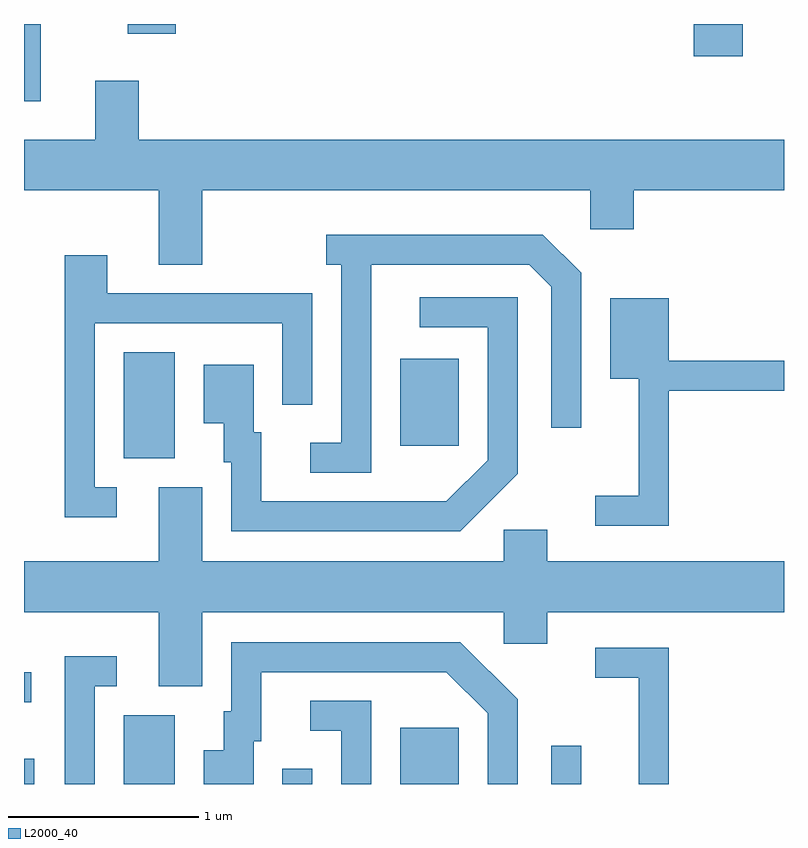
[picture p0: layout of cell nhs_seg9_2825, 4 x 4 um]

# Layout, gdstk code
import gdstk
lib = gdstk.Library(unit=1e-6, precision=1e-09)
def R(c, l, rs):  # rectangles x0, y0, x1, y1
    for r in rs: c.add(gdstk.rectangle(r[:2], r[2:], *l))
def P(c, l, *ps):  # polygons
    for p in ps: c.add(gdstk.Polygon(p, *l))
L2000_40 = (2000, 40)

nhs_seg9_2825 = lib.new_cell('nhs_seg9_2825')
R(nhs_seg9_2825, L2000_40, [(267.611,2026.432,267.664,2026.564), (268.136,2026.432,268.404,2026.794), (268.971,2026.432,269.129,2026.513), (269.591,2026.432,269.899,2026.729), (270.386,2026.432,270.544,2026.633), (267.611,2026.861,267.648,2027.019), (268.136,2028.146,268.404,2028.704), (269.591,2028.211,269.899,2028.669), (267.611,2030.026,267.699,2030.432), (271.136,2030.261,271.394,2030.432), (268.156,2030.381,268.409,2030.432)])
P(nhs_seg9_2825, L2000_40, [(268.549,2029.556),(270.591,2029.556),(270.591,2029.351),(270.819,2029.351),(270.819,2029.556),(271.611,2029.556),(271.611,2029.824),(268.214,2029.824),(268.214,2030.134),(267.986,2030.134),(267.986,2029.824),(267.611,2029.824),(267.611,2029.556),(268.321,2029.556),(268.321,2029.166),(268.549,2029.166)],
  [(269.439,2029.166),(270.269,2029.166),(270.386,2029.049),(270.386,2028.308),(270.544,2028.308),(270.544,2029.122),(270.342,2029.324),(269.203,2029.324),(269.203,2029.166),(269.281,2029.166),(269.281,2028.229),(269.118,2028.229),(269.118,2028.071),(269.439,2028.071)],
  [(268.098,2027.994),(267.984,2027.994),(267.984,2028.856),(268.971,2028.856),(268.971,2028.428),(269.129,2028.428),(269.129,2029.014),(268.049,2029.014),(268.049,2029.214),(267.826,2029.214),(267.826,2027.836),(268.098,2027.836)],
  [(270.209,2028.064),(270.209,2028.994),(269.693,2028.994),(269.693,2028.836),(270.051,2028.836),(270.051,2028.137),(269.834,2027.919),(268.859,2027.919),(268.859,2028.284),(268.819,2028.284),(268.819,2028.639),(268.556,2028.639),(268.556,2028.331),(268.661,2028.331),(268.661,2028.126),(268.701,2028.126),(268.701,2027.761),(269.907,2027.761)],
  [(271.004,2028.501),(271.611,2028.501),(271.611,2028.659),(271.004,2028.659),(271.004,2028.989),(270.696,2028.989),(270.696,2028.566),(270.846,2028.566),(270.846,2027.949),(270.618,2027.949),(270.618,2027.791),(271.004,2027.791)],
  [(268.549,2027.336),(270.136,2027.336),(270.136,2027.171),(270.364,2027.171),(270.364,2027.336),(271.611,2027.336),(271.611,2027.604),(270.364,2027.604),(270.364,2027.769),(270.136,2027.769),(270.136,2027.604),(268.549,2027.604),(268.549,2027.994),(268.321,2027.994),(268.321,2027.604),(267.611,2027.604),(267.611,2027.336),(268.321,2027.336),(268.321,2026.946),(268.549,2026.946)],
  [(268.819,2026.656),(268.859,2026.656),(268.859,2027.021),(269.834,2027.021),(270.051,2026.804),(270.051,2026.432),(270.209,2026.432),(270.209,2026.877),(269.907,2027.179),(268.701,2027.179),(268.701,2026.814),(268.661,2026.814),(268.661,2026.609),(268.556,2026.609),(268.556,2026.432),(268.819,2026.432)],
  [(271.004,2027.149),(270.618,2027.149),(270.618,2026.991),(270.846,2026.991),(270.846,2026.432),(271.004,2026.432)],
  [(267.984,2026.946),(268.098,2026.946),(268.098,2027.104),(267.826,2027.104),(267.826,2026.432),(267.984,2026.432)],
  [(269.439,2026.869),(269.118,2026.869),(269.118,2026.711),(269.281,2026.711),(269.281,2026.432),(269.439,2026.432)])

lib.write_gds('nhs_seg9_2825.gds')
